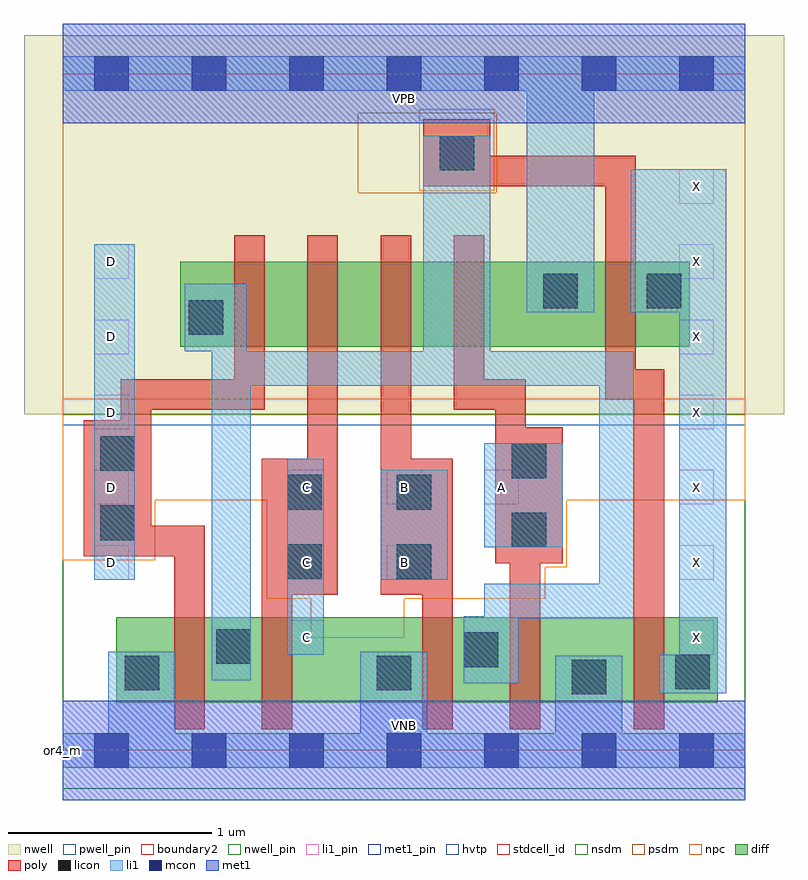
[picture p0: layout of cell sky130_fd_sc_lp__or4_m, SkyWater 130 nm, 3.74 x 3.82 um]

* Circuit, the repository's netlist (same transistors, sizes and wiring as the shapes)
* Copyright 2020 The SkyWater PDK Authors
*
* Licensed under the Apache License, Version 2.0 (the "License");
* you may not use this file except in compliance with the License.
* You may obtain a copy of the License at
*
*     https://www.apache.org/licenses/LICENSE-2.0
*
* Unless required by applicable law or agreed to in writing, software
* distributed under the License is distributed on an "AS IS" BASIS,
* WITHOUT WARRANTIES OR CONDITIONS OF ANY KIND, either express or implied.
* See the License for the specific language governing permissions and
* limitations under the License.
*
* SPDX-License-Identifier: Apache-2.0

.SUBCKT sky130_fd_sc_lp__or4_m A B C D VGND VNB VPB VPWR X
*.PININFO A:I B:I C:I D:I VGND:I VNB:I VPB:I VPWR:I X:O
MMP0 VPWR A sndPA VPB sky130_fd_pr__pfet_01v8_hvt m=1 w=0.42U l=0.15U mult=1 sa=0.265
+ sb=0.265 sd=0.28 area=0.063 perim=1.14
MMP1 sndPA B sndPB VPB sky130_fd_pr__pfet_01v8_hvt m=1 w=0.42U l=0.15U mult=1 sa=0.265
+ sb=0.265 sd=0.28 area=0.063 perim=1.14
MMP2 sndPB C sndPC VPB sky130_fd_pr__pfet_01v8_hvt m=1 w=0.42U l=0.15U mult=1 sa=0.265
+ sb=0.265 sd=0.28 area=0.063 perim=1.14
MMP3 sndPC D y VPB sky130_fd_pr__pfet_01v8_hvt m=1 w=0.42U l=0.15U mult=1 sa=0.265
+ sb=0.265 sd=0.28 area=0.063 perim=1.14
MMIP4 X y VPWR VPB sky130_fd_pr__pfet_01v8_hvt m=1 w=0.42U l=0.15U mult=1 sa=0.265
+ sb=0.265 sd=0.28 area=0.063 perim=1.14
MMN0 y A VGND VNB sky130_fd_pr__nfet_01v8 m=1 w=0.42U l=0.15U mult=1 sa=0.265 sb=0.265
+ sd=0.28 area=0.063 perim=1.14
MMN1 y B VGND VNB sky130_fd_pr__nfet_01v8 m=1 w=0.42U l=0.15U mult=1 sa=0.265 sb=0.265
+ sd=0.28 area=0.063 perim=1.14
MMN2 y C VGND VNB sky130_fd_pr__nfet_01v8 m=1 w=0.42U l=0.15U mult=1 sa=0.265 sb=0.265
+ sd=0.28 area=0.063 perim=1.14
MMN3 y D VGND VNB sky130_fd_pr__nfet_01v8 m=1 w=0.42U l=0.15U mult=1 sa=0.265 sb=0.265
+ sd=0.28 area=0.063 perim=1.14
MMIN4 X y VGND VNB sky130_fd_pr__nfet_01v8 m=1 w=0.42U l=0.15U mult=1 sa=0.265
+ sb=0.265 sd=0.28 area=0.063 perim=1.14
.ENDS sky130_fd_sc_lp__or4_m

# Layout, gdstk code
import gdstk
lib = gdstk.Library(unit=1e-6, precision=1e-09)
def R(c, l, rs):  # rectangles x0, y0, x1, y1
    for r in rs: c.add(gdstk.rectangle(r[:2], r[2:], *l))
def A(c, l, x, y, w, h, nx, ny, dx, dy):  # array of equal rectangles
    R(c, l, [(x+i*dx, y+j*dy, x+i*dx+w, y+j*dy+h) for i in range(nx) for j in range(ny)])
def P(c, l, *ps):  # polygons
    for p in ps: c.add(gdstk.Polygon(p, *l))
nwell_pin = (64, 16)
nwell = (64, 20)
diff = (65, 20)
poly = (66, 20)
licon = (66, 44)
li1_pin = (67, 16)
li1 = (67, 20)
mcon = (67, 44)
met1_pin = (68, 16)
met1 = (68, 20)
hvtp = (78, 44)
stdcell_id = (81, 4)
nsdm = (93, 44)
psdm = (94, 20)
npc = (95, 20)
pwell_pin = (122, 16)
boundary2 = (236, 0)

sky130_fd_sc_lp__or4_m = lib.new_cell('sky130_fd_sc_lp__or4_m')
R(sky130_fd_sc_lp__or4_m, nwell_pin, [(0,3.085,3.36,3.33)])
R(sky130_fd_sc_lp__or4_m, nwell, [(-0.19,1.655,3.55,3.52)])
R(sky130_fd_sc_lp__or4_m, diff, [(0.265,0.235,3.225,0.655), (0.58,1.985,3.085,2.405)])
P(sky130_fd_sc_lp__or4_m, poly, [(0.995,2.535),(0.845,2.535),(0.845,1.825),(0.285,1.825),(0.285,1.625),(0.105,1.625),(0.105,0.955),(0.55,0.955),(0.55,0.105),(0.7,0.105),(0.7,1.105),(0.435,1.105),(0.435,1.675),(0.995,1.675)],
  [(1.355,2.535),(1.205,2.535),(1.205,1.435),(0.98,1.435),(0.98,0.105),(1.13,0.105),(1.13,0.765),(1.355,0.765)],
  [(1.92,1.435),(1.715,1.435),(1.715,2.535),(1.565,2.535),(1.565,0.765),(1.77,0.765),(1.77,0.105),(1.92,0.105)],
  [(2.46,1.59),(2.28,1.59),(2.28,1.825),(2.075,1.825),(2.075,2.535),(1.925,2.535),(1.925,1.675),(2.13,1.675),(2.13,0.92),(2.2,0.92),(2.2,0.105),(2.35,0.105),(2.35,0.92),(2.46,0.92)],
  [(2.96,1.875),(2.82,1.875),(2.82,2.925),(2.105,2.925),(2.105,3.105),(1.775,3.105),(1.775,2.775),(2.67,2.775),(2.67,1.725),(2.81,1.725),(2.81,0.105),(2.96,0.105)])
R(sky130_fd_sc_lp__or4_m, licon, [(2.505,0.275,2.675,0.445), (0.305,0.295,0.475,0.465), (1.545,0.295,1.715,0.465), (3.015,0.3,3.185,0.47), (1.975,0.41,2.145,0.58), (0.755,0.425,0.925,0.595), (1.105,0.845,1.275,1.015), (1.645,0.845,1.815,1.015), (2.21,1,2.38,1.17), (0.185,1.035,0.355,1.205), (1.105,1.185,1.275,1.355), (1.645,1.185,1.815,1.355), (2.21,1.34,2.38,1.51), (0.185,1.375,0.355,1.545), (0.62,2.045,0.79,2.215), (2.365,2.175,2.535,2.345), (2.875,2.175,3.045,2.345), (1.855,2.855,2.025,3.025)])
A(sky130_fd_sc_lp__or4_m, li1_pin, 3.035, 0.47, 0.17, 0.17, 1, 7, 0, 0.37)
A(sky130_fd_sc_lp__or4_m, li1_pin, 0.155, 0.84, 0.17, 0.17, 1, 5, 0, 0.37)
A(sky130_fd_sc_lp__or4_m, li1_pin, 1.115, 1.21, 0.17, 0.17, 3, 1, 0.48, 0)
R(sky130_fd_sc_lp__or4_m, li1_pin, [(1.115,0.47,1.285,0.64), (1.115,0.84,1.285,1.01), (1.595,0.84,1.765,1.01)])
R(sky130_fd_sc_lp__or4_m, li1, [(1.105,0.47,1.285,1.435), (0.155,0.84,0.355,2.49), (1.565,0.84,1.895,1.38), (2.075,1,2.46,1.51)])
P(sky130_fd_sc_lp__or4_m, li1, [(2.285,2.155),(2.285,3.245),(0,3.245),(0,3.415),(3.36,3.415),(3.36,3.245),(2.615,3.245),(2.615,2.155)],
  [(1.465,0.085),(1.465,0.485),(1.795,0.485),(1.795,0.085),(2.425,0.085),(2.425,0.465),(2.755,0.465),(2.755,0.085),(3.36,0.085),(3.36,-0.085),(0,-0.085),(0,0.085),(0.225,0.085),(0.225,0.485),(0.555,0.485),(0.555,0.085)],
  [(3.035,0.47),(3.035,2.155),(2.795,2.155),(2.795,2.86),(3.265,2.86),(3.265,0.28),(2.935,0.28),(2.935,0.47)],
  [(0.905,1.965),(1.775,1.965),(1.775,3.025),(2.105,3.025),(2.105,1.965),(2.81,1.965),(2.81,0.65),(2.245,0.65),(2.245,0.33),(1.975,0.33),(1.975,0.66),(2.075,0.66),(2.075,0.82),(2.64,0.82),(2.64,1.795),(0.925,1.795),(0.925,0.345),(0.735,0.345),(0.735,1.965),(0.6,1.965),(0.6,2.295),(0.905,2.295)])
A(sky130_fd_sc_lp__or4_m, mcon, 0.155, -0.085, 0.17, 0.17, 7, 2, 0.48, 3.33)
R(sky130_fd_sc_lp__or4_m, met1_pin, [(0,0,3.36,0.245), (0,3.085,3.36,3.33)])
R(sky130_fd_sc_lp__or4_m, met1, [(0,-0.245,3.36,0.245), (0,3.085,3.36,3.575)])
R(sky130_fd_sc_lp__or4_m, hvtp, [(0,1.6,3.36,3.33)])
R(sky130_fd_sc_lp__or4_m, stdcell_id, [(0,0,3.36,3.33)])
R(sky130_fd_sc_lp__or4_m, nsdm, [(0,-0.19,3.36,1.655)])
P(sky130_fd_sc_lp__or4_m, psdm, [(3.36,3.52),(2.135,3.52),(2.135,2.745),(1.455,2.745),(1.455,3.135),(2.135,3.135),(2.135,3.52),(0,3.52),(0,1.655),(3.36,1.655)])
R(sky130_fd_sc_lp__or4_m, npc, [(1.755,2.755,2.125,3.155)])
P(sky130_fd_sc_lp__or4_m, npc, [(3.36,1.73),(0,1.73),(0,0.935),(0.455,0.935),(0.455,1.23),(1.005,1.23),(1.005,0.745),(1.22,0.745),(1.22,0.555),(1.68,0.555),(1.68,0.745),(2.375,0.745),(2.375,0.9),(2.48,0.9),(2.48,1.23),(3.36,1.23)])
R(sky130_fd_sc_lp__or4_m, pwell_pin, [(0,0,3.36,0.245)])
R(sky130_fd_sc_lp__or4_m, boundary2, [(0,0,3.36,3.33)])
sky130_fd_sc_lp__or4_m.add(gdstk.Label('VNB', (1.68,0.123), layer=64, texttype=59))
sky130_fd_sc_lp__or4_m.add(gdstk.Label('VPB', (1.68,3.208), layer=64, texttype=5))
sky130_fd_sc_lp__or4_m.add(gdstk.Label('or4_m', (0,0), layer=83, texttype=44))
sky130_fd_sc_lp__or4_m.add(gdstk.Label('VPWR', (1.68,3.208), layer=68, texttype=5))
sky130_fd_sc_lp__or4_m.add(gdstk.Label('VGND', (1.68,0.123), layer=68, texttype=5))
sky130_fd_sc_lp__or4_m.add(gdstk.Label('A', (2.16,1.295), layer=67, texttype=5))
sky130_fd_sc_lp__or4_m.add(gdstk.Label('B', (1.68,0.925), layer=67, texttype=5))
sky130_fd_sc_lp__or4_m.add(gdstk.Label('B', (1.68,1.295), layer=67, texttype=5))
sky130_fd_sc_lp__or4_m.add(gdstk.Label('C', (1.2,0.555), layer=67, texttype=5))
sky130_fd_sc_lp__or4_m.add(gdstk.Label('C', (1.2,0.925), layer=67, texttype=5))
sky130_fd_sc_lp__or4_m.add(gdstk.Label('C', (1.2,1.295), layer=67, texttype=5))
sky130_fd_sc_lp__or4_m.add(gdstk.Label('D', (0.24,0.925), layer=67, texttype=5))
sky130_fd_sc_lp__or4_m.add(gdstk.Label('D', (0.24,1.295), layer=67, texttype=5))
sky130_fd_sc_lp__or4_m.add(gdstk.Label('D', (0.24,1.665), layer=67, texttype=5))
sky130_fd_sc_lp__or4_m.add(gdstk.Label('D', (0.24,2.035), layer=67, texttype=5))
sky130_fd_sc_lp__or4_m.add(gdstk.Label('D', (0.24,2.405), layer=67, texttype=5))
sky130_fd_sc_lp__or4_m.add(gdstk.Label('X', (3.12,0.555), layer=67, texttype=5))
sky130_fd_sc_lp__or4_m.add(gdstk.Label('X', (3.12,0.925), layer=67, texttype=5))
sky130_fd_sc_lp__or4_m.add(gdstk.Label('X', (3.12,1.295), layer=67, texttype=5))
sky130_fd_sc_lp__or4_m.add(gdstk.Label('X', (3.12,1.665), layer=67, texttype=5))
sky130_fd_sc_lp__or4_m.add(gdstk.Label('X', (3.12,2.035), layer=67, texttype=5))
sky130_fd_sc_lp__or4_m.add(gdstk.Label('X', (3.12,2.405), layer=67, texttype=5))
sky130_fd_sc_lp__or4_m.add(gdstk.Label('X', (3.12,2.775), layer=67, texttype=5))

lib.write_gds('sky130_fd_sc_lp__or4_m.gds')
